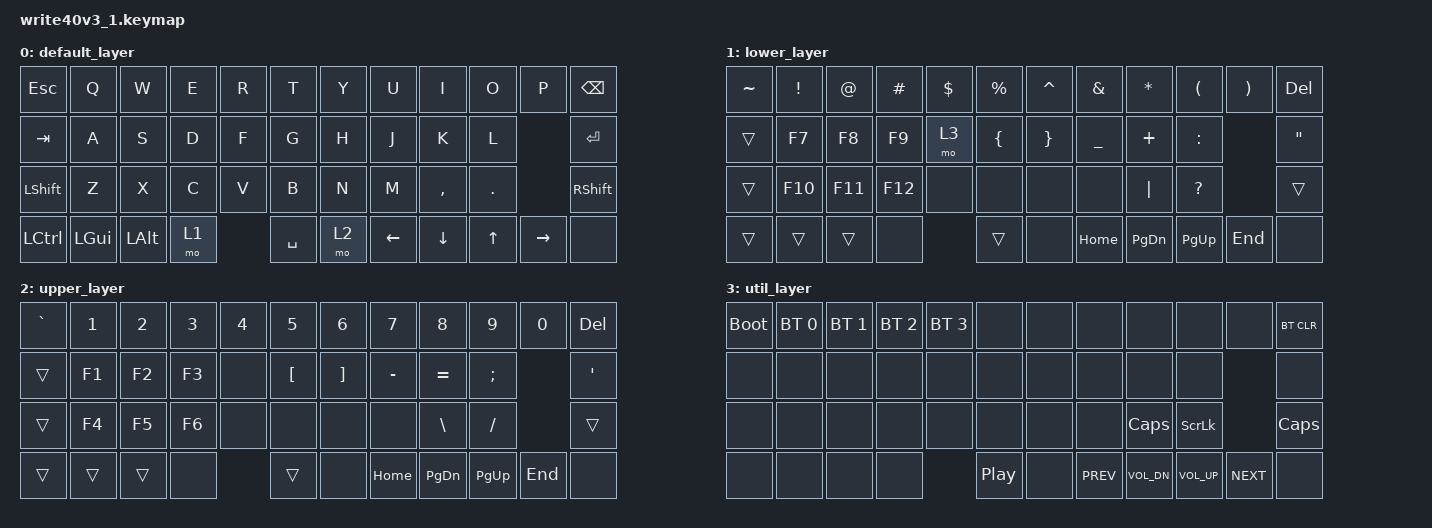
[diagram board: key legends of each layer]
#include <behaviors.dtsi>
#include <dt-bindings/zmk/keys.h>
#include <dt-bindings/zmk/bt.h>

/ {
    keymap {
        compatible = "zmk,keymap";

        default_layer {
            // Layer 0
            //
            /* _________________________________________________________________________________
            * | ESC |  Q  |  W  |  E  |  R  |  T  |  Y  |  U  |  I  |  O  |  P  |      BKSP     |
            * | TAB  |  A  |  S  |  D  |  F  |  G  |  H  |  J  |  K  |  L  |        ENTER       |
            * |  SHIFT  |  Z  |  X  |  C  |  V  |  B  |  N  |  M  |  ,  |  .  |      SHIFT      |
            * | CTRL | WIN | ALT |  L1 (LOW) |   SPACE   | L2 (UPP) | LEFT | DOWN | UP | RIGHT |
            * ---------------------------------------------------------------------------------
            */
            bindings = <
                &kp ESC    &kp Q      &kp W      &kp E      &kp R      &kp T      &kp Y      &kp U      &kp I      &kp O      &kp P      &kp BSPC
                &kp TAB    &kp A      &kp S      &kp D      &kp F      &kp G      &kp H      &kp J      &kp K      &kp L                 &kp ENTER
                &kp LSHFT  &kp Z      &kp X      &kp C      &kp V      &kp B      &kp N      &kp M      &kp COMMA  &kp DOT               &kp RSHFT
                &kp LCTRL  &kp LGUI   &kp LALT   &mo 1                 &kp SPACE  &mo 2      &kp LEFT   &kp DOWN   &kp UP     &kp RIGHT  &none
            >;
        };

        lower_layer {
            // Layer 1
            //
            /* _________________________________________________________________________________
             * |  ~  |  !  |  @  |  #  |  $  |  %  |  ^  |  &  |  * |  (  |  )  |       DEL      |
             * | TRNS |  F7 |  F8 |  F9 |  -- |  {  |  }  |  _  |  +  |  :  |         "          |
             * |  TRNS   | F10 | F11 | F12 |  -- |  -- |  -- |  -- |  | |  ?  |      TRNS        |
             * | TRNS | TRNS | TRNS |   L3    |   TRNS    |   --   | HOME | PGDN | PGUP |  END   |
             * ---------------------------------------------------------------------------------
             */
            //
            bindings = <
                &kp TILDE  &kp EXCL   &kp AT     &kp HASH   &kp DLLR   &kp PRCNT  &kp CARET  &kp AMPS   &kp ASTRK  &kp LPAR   &kp RPAR   &kp DEL
                &trans     &kp F7     &kp F8     &kp F9     &mo 3      &kp LBRC   &kp RBRC   &kp UNDER  &kp PLUS   &kp COLON             &kp DQT
                &trans     &kp F10    &kp F11    &kp F12    &none      &none      &none      &none      &kp PIPE   &kp QMARK             &trans
                &trans     &trans     &trans     &none                 &trans     &none      &kp HOME   &kp PG_DN  &kp PG_UP  &kp END    &none
            >;
        };

        upper_layer {
            // Layer 2
            //
            /* _________________________________________________________________________________
             * |  `  |  1  |  2  |  3  |  4  |  5  |  6  |  7  |  8  |  9  |  0  |       DEL      |
             * | TRNS |  F1 |  F2 |  F3 |  -- |  [  |  ]  |  -  |  =  |  ;  |         '          |
             * |  TRNS   |  F4 |  F5 |  F6 |  -- |  -- |  -- |  -- |  \ |  /  |      TRNS        |
             * | TRNS | TRNS | TRNS |   --    |   TRNS    |   L3   | HOME | PGDN | PGUP |  END   |
             * ---------------------------------------------------------------------------------
             */
            //
            bindings = <
                &kp GRAVE  &kp N1     &kp N2     &kp N3     &kp N4     &kp N5     &kp N6     &kp N7     &kp N8     &kp N9     &kp N0     &kp DEL
                &trans     &kp F1     &kp F2     &kp F3     &none      &kp LBKT   &kp RBKT   &kp MINUS  &kp EQUAL  &kp SEMI              &kp SQT
                &trans     &kp F4     &kp F5     &kp F6     &none      &none      &none      &none      &kp BSLH   &kp FSLH              &trans
                &trans     &trans     &trans     &none                 &trans     &none      &kp HOME   &kp PG_DN  &kp PG_UP  &kp END    &none
            >;
        };

        util_layer {
            // Layer
            //
            /* _________________________________________________________________________________
             * | BOOT | BT0 | BT1 | BT2 | BT3 |  -- |  -- |  -- |  -- |  -- |  -- |  BTCLR     |
             * |  --  |  -- |  -- |  -- |  -- |  -- |  -- |  -- |  -- |  -- |         --       |
             * |   --    |  -- |  -- |  -- |  -- |  -- |  -- |  -- | NUM | SCRL |     CAPS     |
             * |  --   |  -- |  --  | -- |   PLAY/PAUSE  |   --   | PREV | VOL- | VOL+ | NEXT  |
             * ---------------------------------------------------------------------------------
             */
            //
            bindings = <
                &bootloader &bt BT_SEL 0 &bt BT_SEL 1 &bt BT_SEL 2 &bt BT_SEL 3 &none    &none &none      &none        &none        &none       &bt BT_CLR
                &none       &none        &none        &none        &none        &none    &none &none      &none        &none                    &none
                &none       &none        &none        &none        &none        &none    &none &none      &kp CLCK     &kp SLCK                 &kp CAPS
                &none       &none        &none        &none                     &kp C_PP &none &kp C_PREV &kp C_VOL_DN &kp C_VOL_UP &kp C_NEXT  &none
            >;
        };
    };
};
